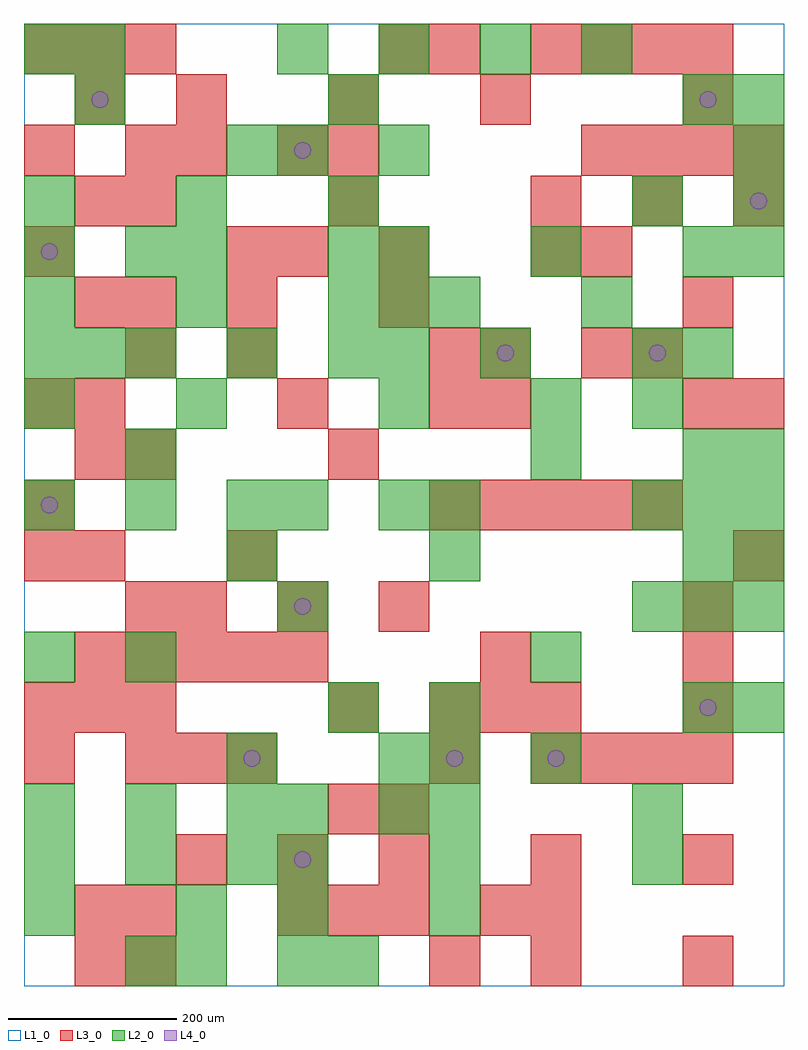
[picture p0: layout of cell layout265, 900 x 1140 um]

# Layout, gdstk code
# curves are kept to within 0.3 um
import gdstk
lib = gdstk.Library(unit=1e-6, precision=1e-09)
def R(c, l, rs):  # rectangles x0, y0, x1, y1
    for r in rs: c.add(gdstk.rectangle(r[:2], r[2:], *l))
def A(c, l, x, y, w, h, nx, ny, dx, dy):  # array of equal rectangles
    R(c, l, [(x+i*dx, y+j*dy, x+i*dx+w, y+j*dy+h) for i in range(nx) for j in range(ny)])
def P(c, l, *ps):  # polygons
    for p in ps: c.add(gdstk.Polygon(p, *l))
L1_0 = (1, 0)
L2_0 = (2, 0)
L3_0 = (3, 0)
L4_0 = (4, 0)

layout265 = lib.new_cell('layout265')
R(layout265, L1_0, [(0,0,900,1140)])
A(layout265, L2_0, 300, 0, 60, 60, 1, 4, 0, 60)
A(layout265, L2_0, 0, 60, 60, 60, 1, 3, 0, 300)
A(layout265, L2_0, 480, 60, 60, 60, 1, 5, 0, 60)
A(layout265, L2_0, 0, 120, 60, 60, 3, 2, 120, 60)
A(layout265, L2_0, 240, 240, 60, 60, 1, 4, 0, 240)
A(layout265, L2_0, 120, 360, 60, 60, 1, 3, 0, 240)
A(layout265, L2_0, 720, 420, 60, 60, 3, 2, 60, 120)
A(layout265, L2_0, 780, 480, 60, 60, 1, 3, 0, 120)
A(layout265, L2_0, 0, 540, 60, 60, 3, 1, 120, 0)
A(layout265, L2_0, 420, 660, 60, 60, 1, 3, 0, 60)
A(layout265, L2_0, 0, 720, 60, 60, 3, 1, 60, 0)
A(layout265, L2_0, 0, 780, 60, 60, 3, 2, 180, 120)
A(layout265, L2_0, 420, 840, 60, 60, 3, 1, 180, 0)
A(layout265, L2_0, 840, 840, 60, 60, 1, 4, 0, 60)
A(layout265, L2_0, 300, 1080, 60, 60, 4, 1, 120, 0)
R(layout265, L2_0, [(120,0,180,60), (180,0,240,60), (360,0,420,60), (180,60,240,120), (720,120,780,180), (420,180,480,240), (720,180,780,240), (420,240,480,300), (600,240,660,300), (360,300,420,360), (780,300,840,360), (840,300,900,360), (600,360,660,420), (300,420,360,480), (480,480,540,540), (840,480,900,540), (300,540,360,600), (420,540,480,600), (480,540,540,600), (600,600,660,660), (840,600,900,660), (180,660,240,720), (600,660,660,720), (720,660,780,720), (360,720,420,780), (540,720,600,780), (720,720,780,780), (480,780,540,840), (660,780,720,840), (0,840,60,900), (180,840,240,900), (360,840,420,900), (720,900,780,960), (300,960,360,1020), (420,960,480,1020), (60,1020,120,1080), (360,1020,420,1080), (780,1020,840,1080), (0,1080,60,1140), (60,1080,120,1140)])
A(layout265, L3_0, 600, 0, 60, 60, 1, 3, 0, 60)
A(layout265, L3_0, 300, 60, 60, 60, 3, 1, 60, 0)
A(layout265, L3_0, 540, 60, 60, 60, 1, 3, 0, 300)
A(layout265, L3_0, 180, 120, 60, 60, 3, 2, 120, 300)
A(layout265, L3_0, 120, 240, 60, 60, 3, 1, 60, 0)
A(layout265, L3_0, 600, 240, 60, 60, 4, 2, 60, 840)
A(layout265, L3_0, 0, 300, 60, 60, 3, 2, 60, 780)
A(layout265, L3_0, 480, 300, 60, 60, 3, 1, 60, 0)
A(layout265, L3_0, 780, 300, 60, 60, 1, 3, 0, 60)
A(layout265, L3_0, 60, 360, 60, 60, 5, 1, 60, 0)
A(layout265, L3_0, 480, 540, 60, 60, 5, 1, 60, 0)
A(layout265, L3_0, 60, 660, 60, 60, 1, 4, 0, 120)
A(layout265, L3_0, 240, 720, 60, 60, 1, 3, 0, 60)
A(layout265, L3_0, 120, 900, 60, 60, 3, 1, 240, 0)
A(layout265, L3_0, 660, 960, 60, 60, 4, 1, 60, 0)
A(layout265, L3_0, 180, 1020, 60, 60, 3, 1, 180, 0)
R(layout265, L3_0, [(60,0,120,60), (120,0,180,60), (480,0,540,60), (780,0,840,60), (60,60,120,120), (120,60,180,120), (780,120,840,180), (360,180,420,240), (420,180,480,240), (0,240,60,300), (480,240,540,300), (360,300,420,360), (120,420,180,480), (0,480,60,540), (60,480,120,540), (240,480,300,540), (840,480,900,540), (0,540,60,600), (60,600,120,660), (120,600,180,660), (360,600,420,660), (0,660,60,720), (300,660,360,720), (480,660,540,720), (780,660,840,720), (840,660,900,720), (120,720,180,780), (480,720,540,780), (540,720,600,780), (660,720,720,780), (720,720,780,780), (120,780,180,840), (420,780,480,840), (780,780,840,840), (0,840,60,900), (300,840,360,900), (420,840,480,900), (600,840,660,900), (660,840,720,900), (720,900,780,960), (840,900,900,960), (0,960,60,1020), (120,960,180,1020), (180,960,240,1020), (300,960,360,1020), (360,960,420,1020), (780,1020,840,1080), (420,1080,480,1140), (480,1080,540,1140)])
P(layout265, L4_0, [(40,570),(39.239,573.827),(37.071,577.071),(33.827,579.239),(30,580),(26.173,579.239),(22.929,577.071),(20.761,573.827),(20,570),(20.761,566.173),(22.929,562.929),(26.173,560.761),(30,560),(33.827,560.761),(37.071,562.929),(39.239,566.173)],
  [(40,870),(39.239,873.827),(37.071,877.071),(33.827,879.239),(30,880),(26.173,879.239),(22.929,877.071),(20.761,873.827),(20,870),(20.761,866.173),(22.929,862.929),(26.173,860.761),(30,860),(33.827,860.761),(37.071,862.929),(39.239,866.173)],
  [(100,1050),(99.239,1053.827),(97.071,1057.071),(93.827,1059.239),(90,1060),(86.173,1059.239),(82.929,1057.071),(80.761,1053.827),(80,1050),(80.761,1046.173),(82.929,1042.929),(86.173,1040.761),(90,1040),(93.827,1040.761),(97.071,1042.929),(99.239,1046.173)],
  [(280,270),(279.239,273.827),(277.071,277.071),(273.827,279.239),(270,280),(266.173,279.239),(262.929,277.071),(260.761,273.827),(260,270),(260.761,266.173),(262.929,262.929),(266.173,260.761),(270,260),(273.827,260.761),(277.071,262.929),(279.239,266.173)],
  [(340,150),(339.239,153.827),(337.071,157.071),(333.827,159.239),(330,160),(326.173,159.239),(322.929,157.071),(320.761,153.827),(320,150),(320.761,146.173),(322.929,142.929),(326.173,140.761),(330,140),(333.827,140.761),(337.071,142.929),(339.239,146.173)],
  [(340,450),(339.239,453.827),(337.071,457.071),(333.827,459.239),(330,460),(326.173,459.239),(322.929,457.071),(320.761,453.827),(320,450),(320.761,446.173),(322.929,442.929),(326.173,440.761),(330,440),(333.827,440.761),(337.071,442.929),(339.239,446.173)],
  [(340,990),(339.239,993.827),(337.071,997.071),(333.827,999.239),(330,1000),(326.173,999.239),(322.929,997.071),(320.761,993.827),(320,990),(320.761,986.173),(322.929,982.929),(326.173,980.761),(330,980),(333.827,980.761),(337.071,982.929),(339.239,986.173)],
  [(520,270),(519.239,273.827),(517.071,277.071),(513.827,279.239),(510,280),(506.173,279.239),(502.929,277.071),(500.761,273.827),(500,270),(500.761,266.173),(502.929,262.929),(506.173,260.761),(510,260),(513.827,260.761),(517.071,262.929),(519.239,266.173)],
  [(580,750),(579.239,753.827),(577.071,757.071),(573.827,759.239),(570,760),(566.173,759.239),(562.929,757.071),(560.761,753.827),(560,750),(560.761,746.173),(562.929,742.929),(566.173,740.761),(570,740),(573.827,740.761),(577.071,742.929),(579.239,746.173)],
  [(640,270),(639.239,273.827),(637.071,277.071),(633.827,279.239),(630,280),(626.173,279.239),(622.929,277.071),(620.761,273.827),(620,270),(620.761,266.173),(622.929,262.929),(626.173,260.761),(630,260),(633.827,260.761),(637.071,262.929),(639.239,266.173)],
  [(760,750),(759.239,753.827),(757.071,757.071),(753.827,759.239),(750,760),(746.173,759.239),(742.929,757.071),(740.761,753.827),(740,750),(740.761,746.173),(742.929,742.929),(746.173,740.761),(750,740),(753.827,740.761),(757.071,742.929),(759.239,746.173)],
  [(820,330),(819.239,333.827),(817.071,337.071),(813.827,339.239),(810,340),(806.173,339.239),(802.929,337.071),(800.761,333.827),(800,330),(800.761,326.173),(802.929,322.929),(806.173,320.761),(810,320),(813.827,320.761),(817.071,322.929),(819.239,326.173)],
  [(820,1050),(819.239,1053.827),(817.071,1057.071),(813.827,1059.239),(810,1060),(806.173,1059.239),(802.929,1057.071),(800.761,1053.827),(800,1050),(800.761,1046.173),(802.929,1042.929),(806.173,1040.761),(810,1040),(813.827,1040.761),(817.071,1042.929),(819.239,1046.173)],
  [(880,930),(879.239,933.827),(877.071,937.071),(873.827,939.239),(870,940),(866.173,939.239),(862.929,937.071),(860.761,933.827),(860,930),(860.761,926.173),(862.929,922.929),(866.173,920.761),(870,920),(873.827,920.761),(877.071,922.929),(879.239,926.173)])

lib.write_gds('layout265.gds')
